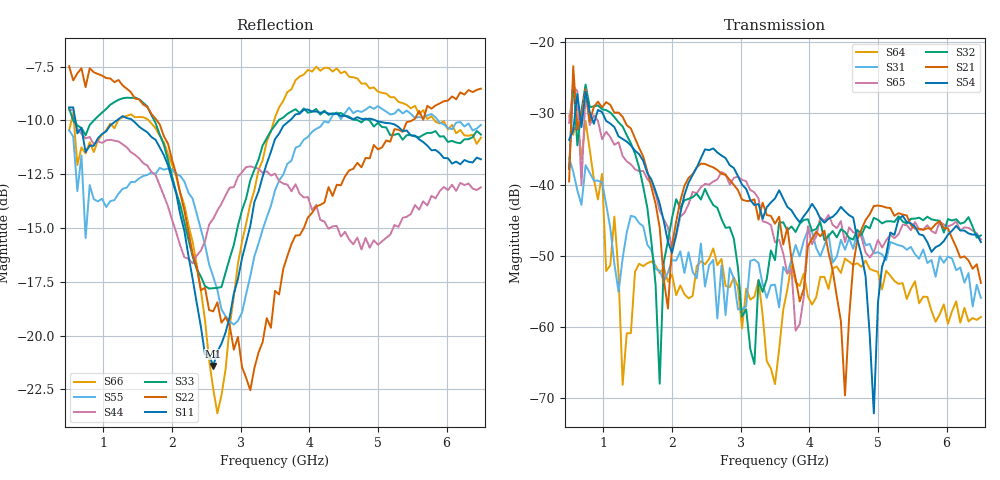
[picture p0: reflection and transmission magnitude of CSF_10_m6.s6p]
!Keysight Technologies,M9804A,MY58100912,A.14.10.03
!Date: Thursday, April 27, 2023 10:28:33
!Correction: S11(C  6-Port  )
!S12(C  6-Port  )
!S13(C  6-Port  )
!S14(C  6-Port  )
!S15(C  6-Port  )
!S16(C  6-Port  )
!S21(C  6-Port  )
!S22(C  6-Port  )
!S23(C  6-Port  )
!S24(C  6-Port  )
!S25(C  6-Port  )
!S26(C  6-Port  )
!S31(C  6-Port  )
!S32(C  6-Port  )
!S33(C  6-Port  )
!S34(C  6-Port  )
!S35(C  6-Port  )
!S36(C  6-Port  )
!S41(C  6-Port  )
!S42(C  6-Port  )
!S43(C  6-Port  )
!S44(C  6-Port  )
!S45(C  6-Port  )
!S46(C  6-Port  )
!S51(C  6-Port  )
!S52(C  6-Port  )
!S53(C  6-Port  )
!S54(C  6-Port  )
!S55(C  6-Port  )
!S56(C  6-Port  )
!S61(C  6-Port  )
!S62(C  6-Port  )
!S63(C  6-Port  )
!S64(C  6-Port  )
!S65(C  6-Port  )
!S66(C  6-Port  )
!S6P File: Measurement: :
# Hz S  RI  R 50
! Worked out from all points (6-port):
!   101 points, 500 MHz to 6.5 GHz, reference 50 ohm
!   strongest paths, dB at 500 MHz, 2 GHz, 3.5 GHz, 5 GHz, 6.5 GHz:
!     S54: -33.7, -49.6, -41.9, -56.6, -48.1
!     S21: -39.5, -48.4, -45.5, -42.9, -53.8
!     S32: -37.8, -44.7, -50.6, -44.9, -47.1
!     S65: -31.3, -49.1, -48.1, -47.8, -47.7
!     S31: -36.3, -50.6, -54.0, -49.5, -55.9
!     S64: -30.3, -52.6, -68.0, -52.2, -58.6
!   lowest |S11| = -21.4 dB at 2.6 GHz (marker M1), VSWR 1.19, Z = 42.5 + j2.19 ohm
!   |S11| at or under -10 dB: 590.3 MHz to 1.193 GHz (602.5 MHz wide, 67.6 % of centre); 1.426 GHz to 3.715 GHz (2.289 GHz wide, 89 % of centre); 4.968 GHz to end of sweep
